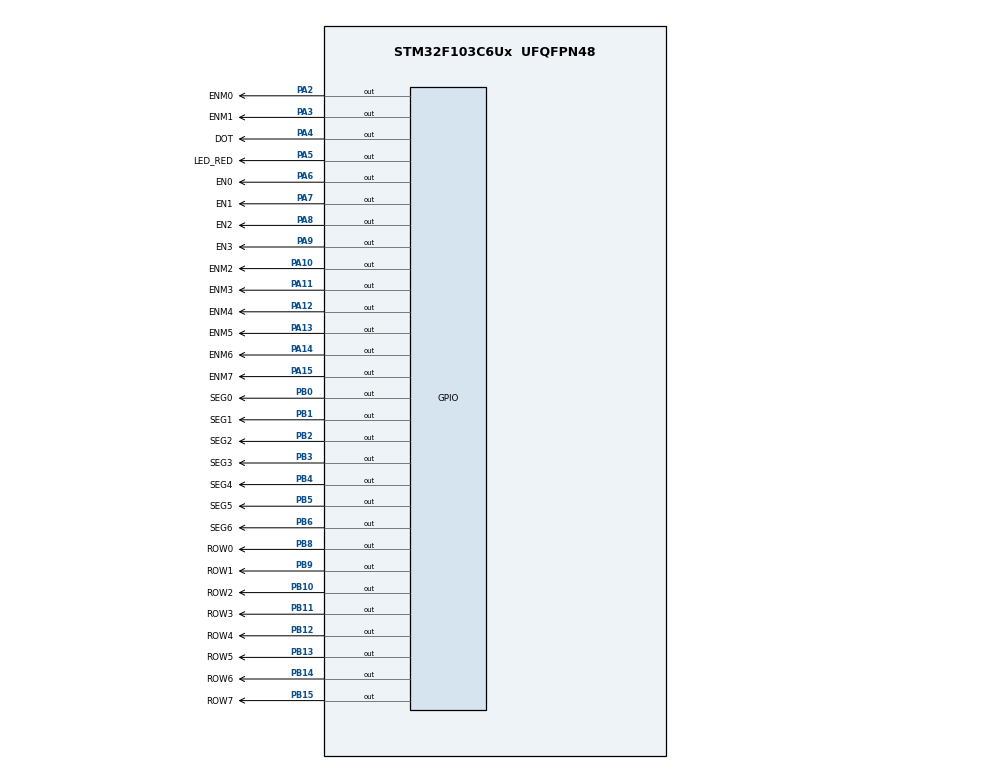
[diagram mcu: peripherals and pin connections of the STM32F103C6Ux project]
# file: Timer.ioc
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Mcu.Family=STM32F1
Mcu.Name=STM32F103C6Ux
Mcu.Package=UFQFPN48
NVIC.PriorityGroup=NVIC_PRIORITYGROUP_4
NVIC.TIM2_IRQn=true\:0\:0\:false\:false\:true\:true\:true
PA10.GPIO_Label=ENM2
PA10.Signal=GPIO_Output
PA11.GPIO_Label=ENM3
PA11.Signal=GPIO_Output
PA12.GPIO_Label=ENM4
PA12.Signal=GPIO_Output
PA13.GPIO_Label=ENM5
PA13.Signal=GPIO_Output
PA14.GPIO_Label=ENM6
PA14.Signal=GPIO_Output
PA15.GPIO_Label=ENM7
PA15.Signal=GPIO_Output
PA2.GPIO_Label=ENM0
PA2.Signal=GPIO_Output
PA3.GPIO_Label=ENM1
PA3.Signal=GPIO_Output
PA4.GPIO_Label=DOT
PA4.Signal=GPIO_Output
PA5.GPIO_Label=LED_RED
PA5.Signal=GPIO_Output
PA6.GPIO_Label=EN0
PA6.Signal=GPIO_Output
PA7.GPIO_Label=EN1
PA7.Signal=GPIO_Output
PA8.GPIO_Label=EN2
PA8.Signal=GPIO_Output
PA9.GPIO_Label=EN3
PA9.Signal=GPIO_Output
PB0.GPIO_Label=SEG0
PB0.Signal=GPIO_Output
PB1.GPIO_Label=SEG1
PB1.Signal=GPIO_Output
PB10.GPIO_Label=ROW2
PB10.Signal=GPIO_Output
PB11.GPIO_Label=ROW3
PB11.Signal=GPIO_Output
PB12.GPIO_Label=ROW4
PB12.Signal=GPIO_Output
PB13.GPIO_Label=ROW5
PB13.Signal=GPIO_Output
PB14.GPIO_Label=ROW6
PB14.Signal=GPIO_Output
PB15.GPIO_Label=ROW7
PB15.Signal=GPIO_Output
PB2.GPIO_Label=SEG2
PB2.Signal=GPIO_Output
PB3.GPIO_Label=SEG3
PB3.Signal=GPIO_Output
PB4.GPIO_Label=SEG4
PB4.Signal=GPIO_Output
PB5.GPIO_Label=SEG5
PB5.Signal=GPIO_Output
PB6.GPIO_Label=SEG6
PB6.Signal=GPIO_Output
PB8.GPIO_Label=ROW0
PB8.Signal=GPIO_Output
PB9.GPIO_Label=ROW1
PB9.Signal=GPIO_Output
ProjectManager.HeapSize=0x200
ProjectManager.StackSize=0x400
ProjectManager.TargetToolchain=STM32CubeIDE
RCC.APB1Freq_Value=8000000
RCC.APB2Freq_Value=8000000
TIM2.Period=9
TIM2.Prescaler=7999
VP_SYS_VS_ND.Mode=No_Debug
VP_TIM2_VS_ClockSourceINT.Mode=Internal
board=custom

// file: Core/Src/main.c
/* USER CODE BEGIN Header */
/**
  ******************************************************************************
  * @file           : main.c
  * @brief          : Main program body
  ******************************************************************************
  * @attention
  *
  * <h2><center>&copy; Copyright (c) 2026 STMicroelectronics.
  * All rights reserved.</center></h2>
  *
  * This software component is licensed by ST under BSD 3-Clause license,
  * the "License"; You may not use this file except in compliance with the
  * License. You may obtain a copy of the License at:
  *                        opensource.org/licenses/BSD-3-Clause
  *
  ******************************************************************************
  */
/* USER CODE END Header */
#include "main.h"

TIM_HandleTypeDef htim2;

void SystemClock_Config(void);
static void MX_TIM2_Init(void);
static void MX_GPIO_Init(void);

/* USER CODE BEGIN 0 */
int led_timer_id = -1;
int dot_timer_id = -1;
int shift_timer_id = -1;

const int MAX = 4;
int ledBuffer[4];
int led_state = 0;

int hour = 15;
int minute = 8;
int second = 50;

const int MAX_LED_MATRIX = 8;
int index_led_matrix = 0;
int matrix_timer_id = -1;

uint8_t matrixBuffer[8] = {0x18, 0x3C, 0x66, 0x66, 0x7E, 0x7E, 0x66, 0x66};

uint16_t matrix_row_pins[8] = {GPIO_PIN_2, GPIO_PIN_3, GPIO_PIN_10, GPIO_PIN_11, GPIO_PIN_12, GPIO_PIN_13, GPIO_PIN_14, GPIO_PIN_15};

void display7SEG(int num){
	uint8_t seg7[10] = {0xC0, 0xF9, 0xA4, 0xB0, 0x99, 0x92, 0x82, 0xF8, 0x80, 0x90};

	if (num < 0 || num > 9){
		return;
	}

	for (int i = 0; i < 7; ++i){
		if ((seg7[num] >> i) & 0x01){
			HAL_GPIO_WritePin(GPIOB, GPIO_PIN_0 << i, GPIO_PIN_SET);
		} else {
			HAL_GPIO_WritePin(GPIOB, GPIO_PIN_0 << i, GPIO_PIN_RESET);
		}
	}
}

void update7SEG(int index){
	HAL_GPIO_WritePin(GPIOA, EN0_Pin | EN1_Pin | EN2_Pin | EN3_Pin, GPIO_PIN_SET);
	display7SEG(ledBuffer[index]);

	switch (index){
	case 0:
		HAL_GPIO_WritePin(GPIOA, EN0_Pin, GPIO_PIN_RESET);
		break;
	case 1:
		HAL_GPIO_WritePin(GPIOA, EN1_Pin, GPIO_PIN_RESET);
		break;
	case 2:
		HAL_GPIO_WritePin(GPIOA, EN2_Pin, GPIO_PIN_RESET);
		break;
	case 3:
		HAL_GPIO_WritePin(GPIOA, EN3_Pin, GPIO_PIN_RESET);
		break;
	}
}

void updateClockBuffer(){
	ledBuffer[0] = hour / 10;
	ledBuffer[1] = hour % 10;
	ledBuffer[2] = minute / 10;
	ledBuffer[3] = minute % 10;
}

void displayRow(uint8_t data){
	for (int i = 0; i < 8; ++i){
		if ((data >> i) & 0x01){
			HAL_GPIO_WritePin(GPIOB, GPIO_PIN_8 << i, GPIO_PIN_SET);
		} else {
			HAL_GPIO_WritePin(GPIOB, GPIO_PIN_8 << i, GPIO_PIN_RESET);
		}
	}
}

void updateLEDMatrix(int index){
	HAL_GPIO_WritePin(GPIOA, GPIO_PIN_2 | GPIO_PIN_3 | GPIO_PIN_10 | GPIO_PIN_11 | GPIO_PIN_12 | GPIO_PIN_13 | GPIO_PIN_14 | GPIO_PIN_15, GPIO_PIN_RESET);

	displayRow(matrixBuffer[index]);

	HAL_GPIO_WritePin(GPIOA, matrix_row_pins[index], GPIO_PIN_SET);
}
/* USER CODE END 0 */

int main(void)
{

  /* MCU Configuration--------------------------------------------------------*/

  /* Reset of all peripherals, Initializes the Flash interface and the Systick. */
  HAL_Init();

  /* Configure the system clock */
  SystemClock_Config();

  /* Initialize all configured peripherals */
  MX_TIM2_Init();
  MX_GPIO_Init();
  /* USER CODE BEGIN 2 */
  initTimers();
  led_timer_id = requestTimer();
  dot_timer_id = requestTimer();
  matrix_timer_id = requestTimer();
  shift_timer_id = requestTimer();

  if (led_timer_id != -1){
	  setTimer(led_timer_id, 250);
  }

  if (dot_timer_id != -1){
	  setTimer(dot_timer_id, 1000);
  }

  if (matrix_timer_id != -1){
	  setTimer(matrix_timer_id, 10);
  }

  if (shift_timer_id != -1){
	  setTimer(shift_timer_id, 200);
  }

  updateClockBuffer();

  HAL_TIM_Base_Start_IT(&htim2);
  /* USER CODE END 2 */

  /* Infinite loop */
  /* USER CODE BEGIN WHILE */
  while (1)
  {
	  if (led_timer_id != -1 && timer_flags[led_timer_id] == 1){
		  setTimer(led_timer_id, 250);
		  update7SEG(led_state++);
		  if (led_state >= MAX){
			  led_state = 0;
		  }
	  }

	  if (dot_timer_id != -1 && timer_flags[dot_timer_id] == 1){
		  setTimer(dot_timer_id, 1000);

		  HAL_GPIO_TogglePin(GPIOA, DOT_Pin);

		  second++;
		  if (second >= 60){
			  minute++;
			  second = 0;
		  }
		  if (minute >= 60){
			  hour++;
			  minute = 0;
		  }
		  if (hour >= 24){
			  hour = 0;
		  }

		  updateClockBuffer();
	  }

	  if (matrix_timer_id != -1 && timer_flags[matrix_timer_id] == 1){
		  setTimer(matrix_timer_id, 10);

		  updateLEDMatrix(index_led_matrix++);

		  if (index_led_matrix >= MAX_LED_MATRIX){
			  index_led_matrix = 0;
		  }
	  }

	  if (shift_timer_id != -1 && timer_flags[shift_timer_id] == 1){
		  setTimer(shift_timer_id, 200);

		  uint8_t last_bit;

		  for (int i = 0; i < MAX_LED_MATRIX; ++i){
			  last_bit = matrixBuffer[i] & 0x01;

			  matrixBuffer[i] = (last_bit << 7) |(matrixBuffer[i] >> 1);
		  }
	  }
    /* USER CODE END WHILE */

  }
}

void SystemClock_Config(void)
{
  RCC_OscInitTypeDef RCC_OscInitStruct = {0};
  RCC_ClkInitTypeDef RCC_ClkInitStruct = {0};

  /** Initializes the RCC Oscillators according to the specified parameters
  * in the RCC_OscInitTypeDef structure.
  */
  RCC_OscInitStruct.OscillatorType = RCC_OSCILLATORTYPE_HSI;
  RCC_OscInitStruct.HSIState = RCC_HSI_ON;
  RCC_OscInitStruct.HSICalibrationValue = RCC_HSICALIBRATION_DEFAULT;
  RCC_OscInitStruct.PLL.PLLState = RCC_PLL_NONE;
  if (HAL_RCC_OscConfig(&RCC_OscInitStruct) != HAL_OK)
  {
    Error_Handler();
  }
  /** Initializes the CPU, AHB and APB buses clocks
  */
  RCC_ClkInitStruct.ClockType = RCC_CLOCKTYPE_HCLK|RCC_CLOCKTYPE_SYSCLK
                              |RCC_CLOCKTYPE_PCLK1|RCC_CLOCKTYPE_PCLK2;
  RCC_ClkInitStruct.SYSCLKSource = RCC_SYSCLKSOURCE_HSI;
  RCC_ClkInitStruct.AHBCLKDivider = RCC_SYSCLK_DIV1;
  RCC_ClkInitStruct.APB1CLKDivider = RCC_HCLK_DIV1;
  RCC_ClkInitStruct.APB2CLKDivider = RCC_HCLK_DIV1;

  if (HAL_RCC_ClockConfig(&RCC_ClkInitStruct, FLASH_LATENCY_0) != HAL_OK)
  {
    Error_Handler();
  }
}

static void MX_TIM2_Init(void)
{

  TIM_ClockConfigTypeDef sClockSourceConfig = {0};
  TIM_MasterConfigTypeDef sMasterConfig = {0};

  htim2.Instance = TIM2;
  htim2.Init.Prescaler = 7999;
  htim2.Init.CounterMode = TIM_COUNTERMODE_UP;
  htim2.Init.Period = 9;
  htim2.Init.ClockDivision = TIM_CLOCKDIVISION_DIV1;
  htim2.Init.AutoReloadPreload = TIM_AUTORELOAD_PRELOAD_DISABLE;
  if (HAL_TIM_Base_Init(&htim2) != HAL_OK)
  {
    Error_Handler();
  }
  sClockSourceConfig.ClockSource = TIM_CLOCKSOURCE_INTERNAL;
  if (HAL_TIM_ConfigClockSource(&htim2, &sClockSourceConfig) != HAL_OK)
  {
    Error_Handler();
  }
  sMasterConfig.MasterOutputTrigger = TIM_TRGO_RESET;
  sMasterConfig.MasterSlaveMode = TIM_MASTERSLAVEMODE_DISABLE;
  if (HAL_TIMEx_MasterConfigSynchronization(&htim2, &sMasterConfig) != HAL_OK)
  {
    Error_Handler();
  }

}

static void MX_GPIO_Init(void)
{
  GPIO_InitTypeDef GPIO_InitStruct = {0};

  /* GPIO Ports Clock Enable */
  __HAL_RCC_GPIOA_CLK_ENABLE();
  __HAL_RCC_GPIOB_CLK_ENABLE();

  /*Configure GPIO pin Output Level */
  HAL_GPIO_WritePin(GPIOA, ENM0_Pin|ENM1_Pin|DOT_Pin|LED_RED_Pin
                          |EN0_Pin|EN1_Pin|EN2_Pin|EN3_Pin
                          |ENM2_Pin|ENM3_Pin|ENM4_Pin|ENM5_Pin
                          |ENM6_Pin|ENM7_Pin, GPIO_PIN_RESET);

  /*Configure GPIO pin Output Level */
  HAL_GPIO_WritePin(GPIOB, SEG0_Pin|SEG1_Pin|SEG2_Pin|ROW2_Pin
                          |ROW3_Pin|ROW4_Pin|ROW5_Pin|ROW6_Pin
                          |ROW7_Pin|SEG3_Pin|SEG4_Pin|SEG5_Pin
                          |SEG6_Pin|ROW0_Pin|ROW1_Pin, GPIO_PIN_RESET);

  /*Configure GPIO pins : ENM0_Pin ENM1_Pin DOT_Pin LED_RED_Pin
                           EN0_Pin EN1_Pin EN2_Pin EN3_Pin
                           ENM2_Pin ENM3_Pin ENM4_Pin ENM5_Pin
                           ENM6_Pin ENM7_Pin */
  GPIO_InitStruct.Pin = ENM0_Pin|ENM1_Pin|DOT_Pin|LED_RED_Pin
                          |EN0_Pin|EN1_Pin|EN2_Pin|EN3_Pin
                          |ENM2_Pin|ENM3_Pin|ENM4_Pin|ENM5_Pin
                          |ENM6_Pin|ENM7_Pin;
  GPIO_InitStruct.Mode = GPIO_MODE_OUTPUT_PP;
  GPIO_InitStruct.Pull = GPIO_NOPULL;
  GPIO_InitStruct.Speed = GPIO_SPEED_FREQ_LOW;
  HAL_GPIO_Init(GPIOA, &GPIO_InitStruct);

  /*Configure GPIO pins : SEG0_Pin SEG1_Pin SEG2_Pin ROW2_Pin
                           ROW3_Pin ROW4_Pin ROW5_Pin ROW6_Pin
                           ROW7_Pin SEG3_Pin SEG4_Pin SEG5_Pin
                           SEG6_Pin ROW0_Pin ROW1_Pin */
  GPIO_InitStruct.Pin = SEG0_Pin|SEG1_Pin|SEG2_Pin|ROW2_Pin
                          |ROW3_Pin|ROW4_Pin|ROW5_Pin|ROW6_Pin
                          |ROW7_Pin|SEG3_Pin|SEG4_Pin|SEG5_Pin
                          |SEG6_Pin|ROW0_Pin|ROW1_Pin;
  GPIO_InitStruct.Mode = GPIO_MODE_OUTPUT_PP;
  GPIO_InitStruct.Pull = GPIO_NOPULL;
  GPIO_InitStruct.Speed = GPIO_SPEED_FREQ_LOW;
  HAL_GPIO_Init(GPIOB, &GPIO_InitStruct);

}

/* USER CODE BEGIN 4 */
void HAL_TIM_PeriodElapsedCallback (TIM_HandleTypeDef * htim){
	if (htim->Instance == TIM2){
		timerRun();
	}
}
/* USER CODE END 4 */

void Error_Handler(void)
{
  __disable_irq();
  while (1)
  {
  }
}

/************************ (C) COPYRIGHT STMicroelectronics *****END OF FILE****/
